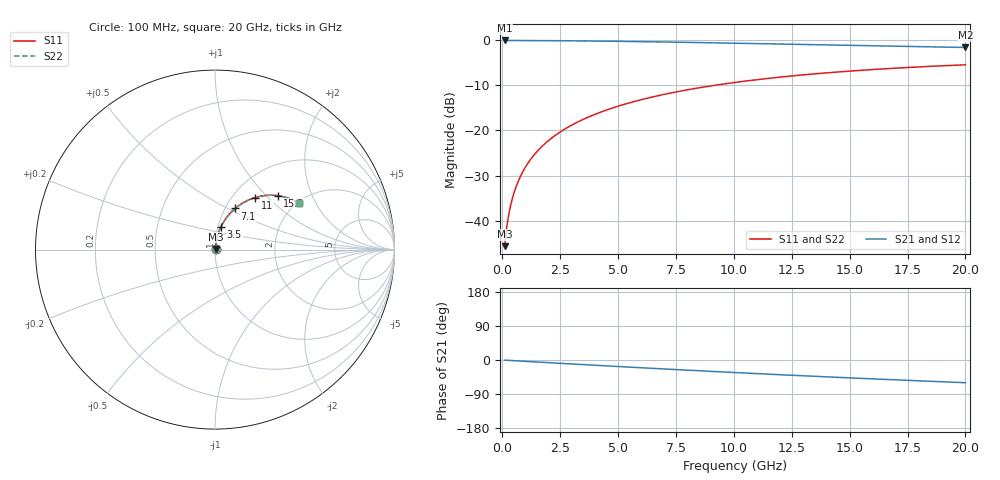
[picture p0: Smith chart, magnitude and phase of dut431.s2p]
! Touchstone file exported from HFSS 2026.1.0
!  File:  C:/ffzhzh/LocalFiles/Ansys_Project_Files/temp_train_BSMRDL_431_1783012916_46388.aedt
!  Generated:  01:23:42 AM Jul  3, 2026
!  Design:  BSMRDL
!  Project:  temp_train_BSMRDL_431_1783012916_46388
! Variables:
!  h_bsmrdl = 4.84um
!  h_ox = 20um
!  h_rdl = 5um
!  h_sub = 80um
!  h_tmrdl = 5um
!  h_tsv = 80um
!  h_via = 3um
!  l_bsmrdl = 916.31um
!  l_sub = 1316.31um
!  l_tmrdl = 200um
!  m_sub = 200um
!  pitch = 59.99um
!  r_tsv = 6um
!  s_tmrdl = 10um
!  w_bsmrdl = 22.46um
!  w_sub = 500um
!  w_tmrdl = 12um
!  x_tsv_center1 = 206um
!  x_tsv_center2 = 1144.77um
!  x_tsv_center3 = 1356.77um
!  x_tsv_center4 = 2295.54um
!  x_tsv_center5 = 2507.54um
!  x_tsv_center6 = 3446.31um
# GHz S MA R 50.000000
! Terminal data exported
! Port[1] = BSM_RDL1_1_T1
! Port[2] = BSM_RDL1_1_T2
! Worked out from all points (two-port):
!   200 points, 100 MHz to 20 GHz, reference 50 ohm
!   highest |S21| = -0.03 dB at 100 MHz (marker M1); lowest = -1.6 dB at 20 GHz (marker M2)
!   |S21| within 3 dB of the highest: start of sweep to end of sweep
!   lowest |S11| = -45.7 dB at 100 MHz (marker M3), VSWR 1.01, Z = 50.3 + j0.416 ohm
!   |S11| at or under -10 dB: start of sweep to 9.149 GHz
!   |S22| runs from -45.7 to -5.4 dB; largest |S21 - S12| = 1e-14
!   S11 on the Smith chart (normalised r, x): 100 MHz: 1.01, +0.01; 3.5 GHz: 1.03, +0.27; 7.1 GHz: 1.11, +0.54; 11 GHz: 1.26, +0.84; 15.3 GHz: 1.54, +1.17; 20 GHz: 2.04, +1.48
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0.1  0.005206 52.5  0.9968 -0.4  0.9968 -0.4  0.005206 52.5
! Gamma 0 0 0 0
! Port Impedance 50 0 50 0
0.2  0.008816 67.1  0.9966 -0.7  0.9966 -0.7  0.008816 67.1
0.3  0.01257 72.8  0.9964 -1.1  0.9964 -1.1  0.01257 72.8
0.4  0.01634 75.8  0.9963 -1.4  0.9963 -1.4  0.01634 75.8
0.5  0.02014 77.6  0.9961 -1.8  0.9961 -1.8  0.02014 77.6
0.7  0.02777 79.6  0.9958 -2.5  0.9958 -2.5  0.02777 79.6
1  0.03927 80.6  0.9952 -3.5  0.9952 -3.5  0.03927 80.6
1.4  0.0546 80.6  0.9942 -4.9  0.9942 -4.9  0.0546 80.6
2  0.07744 79.5  0.9923 -7.0  0.9923 -7.0  0.07744 79.5
2.7  0.1037 77.6  0.9892 -9.4  0.9892 -9.4  0.1037 77.6
3.5  0.133 75.2  0.9849 -12.2  0.9849 -12.2  0.133 75.2
4.2  0.1581 73.0  0.9806 -14.5  0.9806 -14.5  0.1581 73.0
5  0.1859 70.5  0.975 -17.2  0.975 -17.2  0.1859 70.4
6.8  0.2455 64.8  0.9604 -23.1  0.9604 -23.1  0.2455 64.8
7.1  0.255 63.9  0.9578 -24.0  0.9578 -24.0  0.255 63.9
8.5  0.2975 59.7  0.9448 -28.4  0.9448 -28.4  0.2975 59.7
10.1  0.3425 55.0  0.929 -33.3  0.929 -33.3  0.3425 54.9
11  0.3661 52.4  0.9198 -36.0  0.9198 -36.0  0.3661 52.3
13.4  0.4228 45.7  0.8949 -42.8  0.8949 -42.8  0.4228 45.6
15.3  0.4615 40.6  0.8757 -48.0  0.8757 -48.0  0.4615 40.6
16.7  0.4866 37.0  0.862 -51.7  0.862 -51.7  0.4866 37.0
20  0.5353 28.9  0.8331 -59.9  0.8331 -59.9  0.5353 28.9
